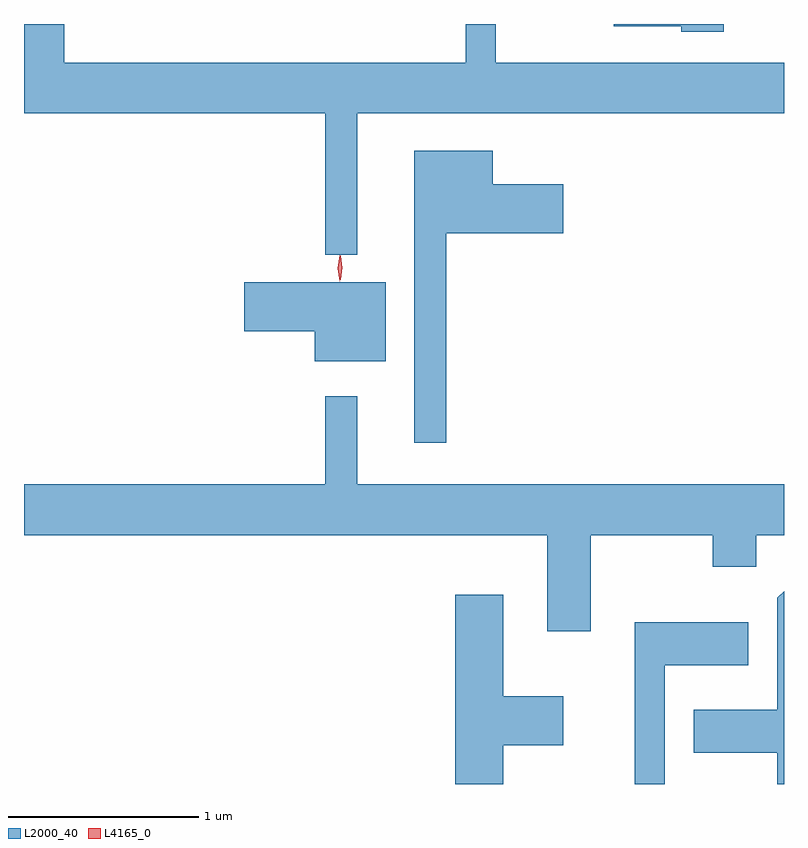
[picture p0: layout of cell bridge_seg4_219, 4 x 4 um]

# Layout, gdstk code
import gdstk
lib = gdstk.Library(unit=1e-6, precision=1e-09)
def P(c, l, *ps):  # polygons
    for p in ps: c.add(gdstk.Polygon(p, *l))
L2000_40 = (2000, 40)
L4165_0 = (4165, 0)

bridge_seg4_219 = lib.new_cell('bridge_seg4_219')
P(bridge_seg4_219, L2000_40, [(1136.449,1265.876),(1138.696,1265.876),(1138.696,1266.144),(1137.179,1266.144),(1137.179,1266.347),(1137.021,1266.347),(1137.021,1266.144),(1134.909,1266.144),(1134.909,1266.347),(1134.696,1266.347),(1134.696,1265.876),(1136.281,1265.876),(1136.281,1265.133),(1136.449,1265.133)],
  [(1138.379,1266.347),(1137.801,1266.347),(1137.801,1266.336),(1138.156,1266.336),(1138.156,1266.306),(1138.379,1266.306)],
  [(1136.919,1265.246),(1137.534,1265.246),(1137.534,1265.504),(1137.164,1265.504),(1137.164,1265.679),(1136.751,1265.679),(1136.751,1264.143),(1136.919,1264.143)],
  [(1136.599,1264.989),(1135.856,1264.989),(1135.856,1264.731),(1136.226,1264.731),(1136.226,1264.571),(1136.599,1264.571)],
  [(1137.679,1263.656),(1138.321,1263.656),(1138.321,1263.491),(1138.549,1263.491),(1138.549,1263.656),(1138.696,1263.656),(1138.696,1263.924),(1136.449,1263.924),(1136.449,1264.388),(1136.281,1264.388),(1136.281,1263.924),(1134.696,1263.924),(1134.696,1263.656),(1137.451,1263.656),(1137.451,1263.151),(1137.679,1263.151)],
  [(1138.696,1263.362),(1138.661,1263.327),(1138.661,1262.739),(1138.221,1262.739),(1138.221,1262.511),(1138.661,1262.511),(1138.661,1262.347),(1138.696,1262.347)],
  [(1137.219,1262.551),(1137.534,1262.551),(1137.534,1262.809),(1137.219,1262.809),(1137.219,1263.344),(1136.966,1263.344),(1136.966,1262.347),(1137.219,1262.347)],
  [(1138.069,1262.971),(1138.509,1262.971),(1138.509,1263.199),(1137.911,1263.199),(1137.911,1262.347),(1138.069,1262.347)])
P(bridge_seg4_219, L4165_0, [(1136.361,1265),(1136.352,1265.063),(1136.361,1265.126),(1136.362,1265.127),(1136.362,1265.126),(1136.372,1265.063),(1136.362,1265),(1136.362,1265)],
  [(1136.358,1264.994),(1136.358,1264.994),(1136.348,1265.062),(1136.358,1265.13),(1136.358,1265.13),(1136.359,1265.13),(1136.368,1265.062),(1136.359,1264.994)])

lib.write_gds('bridge_seg4_219.gds')
